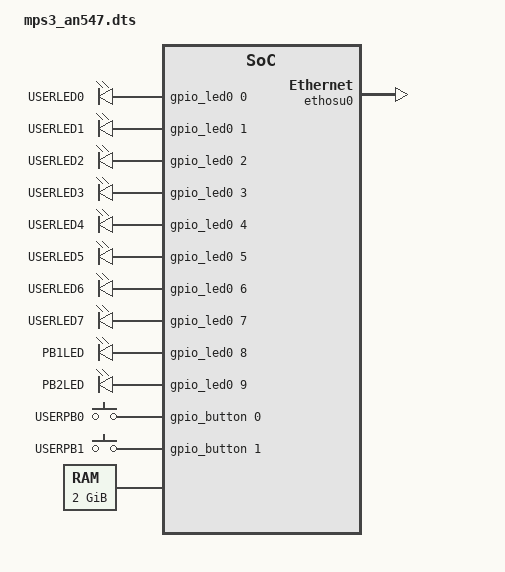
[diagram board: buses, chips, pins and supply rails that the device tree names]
/*
 * Copyright (c) 2018-2021 Linaro Limited
 * Copyright 2022 Arm Limited and/or its affiliates <open-source-office@arm.com>
 *
 * SPDX-License-Identifier: Apache-2.0
 */

/dts-v1/;

#include <arm/armv8.1-m.dtsi>
#include <zephyr/dt-bindings/i2c/i2c.h>
#include <zephyr/dt-bindings/input/input-event-codes.h>
#include <mem.h>

/ {
	compatible = "arm,mps3-an547";
	#address-cells = <1>;
	#size-cells = <1>;

	aliases {
		led0 = &led_0;
		led1 = &led_1;
		sw0 = &user_button_0;
		sw1 = &user_button_1;
	};

	chosen {
		zephyr,console = &uart0;
		zephyr,shell-uart = &uart0;
		zephyr,sram = &dtcm;
		zephyr,flash = &itcm;
	};

	leds {
		compatible = "gpio-leds";
		led_0: led_0 {
			gpios = <&gpio_led0 0>;
			label = "USERLED0";
		};
		led_1: led_1 {
			gpios = <&gpio_led0 1>;
			label = "USERLED1";
		};
		led_2: led_2 {
			gpios = <&gpio_led0 2>;
			label = "USERLED2";
		};
		led_3: led_3 {
			gpios = <&gpio_led0 3>;
			label = "USERLED3";
		};
		led_4: led_4 {
			gpios = <&gpio_led0 4>;
			label = "USERLED4";
		};
		led_5: led_5 {
			gpios = <&gpio_led0 5>;
			label = "USERLED5";
		};
		led_6: led_6 {
			gpios = <&gpio_led0 6>;
			label = "USERLED6";
		};
		led_7: led_7 {
			gpios = <&gpio_led0 7>;
			label = "USERLED7";
		};
		led_8: led_8 {
			gpios = <&gpio_led0 8>;
			label = "PB1LED";
		};
		led_9: led_9 {
			gpios = <&gpio_led0 9>;
			label = "PB2LED";
		};
	};

	gpio_keys {
		compatible = "gpio-keys";
		user_button_0: button_0 {
			label = "USERPB0";
			gpios = <&gpio_button 0>;
			zephyr,code = <INPUT_KEY_0>;
		};
		user_button_1: button_1 {
			label = "USERPB1";
			gpios = <&gpio_button 1>;
			zephyr,code = <INPUT_KEY_1>;
		};
	};

	ethosu {
		#address-cells = <1>;
		#size-cells = <0>;
		interrupt-parent = <&nvic>;

		ethosu0: ethosu@48102000 {
			compatible = "arm,ethos-u";
			reg = <0x48102000>;
			interrupts = <56 3>;
			secure-enable;
			privilege-enable;
			status = "okay";
		};
	};

	cpus {
		#address-cells = <1>;
		#size-cells = <0>;

		cpu@0 {
			device_type = "cpu";
			compatible = "arm,cortex-m55";
			reg = <0>;
			#address-cells = <1>;
			#size-cells = <1>;

			mpu: mpu@e000ed90 {
				compatible = "arm,armv8.1m-mpu";
				reg = <0xe000ed90 0x40>;
			};
		};
	};

	/* We utilize the secure addresses, if you subtract 0x10000000
	 * you'll get the non-secure alias
	 */
	itcm: itcm@10000000 {	/* alias @ 0x0 */
		compatible = "zephyr,memory-region";
		reg = <0x10000000 DT_SIZE_K(512)>;
		zephyr,memory-region = "ITCM";
	};

	sram: sram@11000000 {	/* alias @ 0x01000000 */
		compatible = "zephyr,memory-region", "mmio-sram";
		reg = <0x11000000 DT_SIZE_M(2)>;
		zephyr,memory-region = "SRAM";
	};

	dtcm: dtcm@30000000 {	/* alias @ 0x20000000 */
		compatible = "zephyr,memory-region";
		reg = <0x30000000 DT_SIZE_K(512)>;
		zephyr,memory-region = "DTCM";
	};

	isram: sram@31000000 {/* alias @ 0x21000000 */
		compatible = "zephyr,memory-region", "mmio-sram";
		reg = <0x31000000 DT_SIZE_M(4)>;
		zephyr,memory-region = "ISRAM";
	};

	/* DDR4 - 2G, alternates non-secure/secure every 256M */
	ddr4: memory@60000000 {
		device_type = "memory";
		compatible = "zephyr,memory-region";
		reg = <0x60000000 DT_SIZE_M(256)
		       0x70000000 DT_SIZE_M(256)
		       0x80000000 DT_SIZE_M(256)
		       0x90000000 DT_SIZE_M(256)
		       0xa0000000 DT_SIZE_M(256)
		       0xb0000000 DT_SIZE_M(256)
		       0xc0000000 DT_SIZE_M(256)
		       0xd0000000 DT_SIZE_M(256)>;
		zephyr,memory-region = "DDR4";
	};

	soc {
		peripheral@50000000 {
			#address-cells = <1>;
			#size-cells = <1>;
			ranges = <0x0 0x50000000 0x10000000>;

			#include "mps3_an547-common.dtsi"
		};
	};
};

&nvic {
	arm,num-irq-priority-bits = <3>;
};
